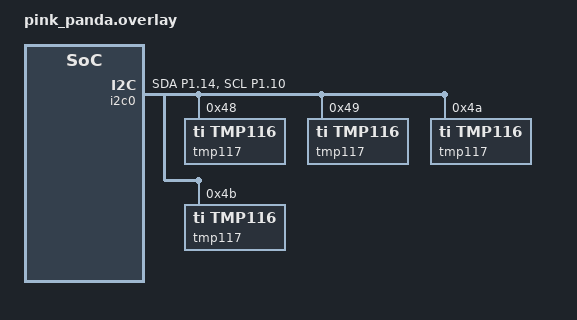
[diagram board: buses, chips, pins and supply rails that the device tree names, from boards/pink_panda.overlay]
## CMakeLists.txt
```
# set(OVERLAY_CONFIG "secret.conf")

cmake_minimum_required(VERSION 3.20.0)
list(APPEND BOARD_ROOT ${CMAKE_CURRENT_SOURCE_DIR})
find_package(Zephyr REQUIRED HINTS $ENV{ZEPHYR_BASE})

execute_process(COMMAND git describe
                WORKING_DIRECTORY ${CMAKE_CURRENT_SOURCE_DIR}
                OUTPUT_VARIABLE GIT_DESCRIBE
                ERROR_QUIET)
string(STRIP "${GIT_DESCRIBE}" GIT_DESCRIBE)
STRING(REGEX MATCH "[0-9]+\\.[0-9]+\\.[0-9]+"
       VERSION "${GIT_DESCRIBE}")

project(app LANGUAGES C VERSION ${VERSION})


configure_file(app_version.h.in ${CMAKE_BINARY_DIR}/app/include/app_version.h)
zephyr_include_directories(
    ${CMAKE_BINARY_DIR}/app/include
)
target_include_directories(app PRIVATE ${CMAKE_BINARY_DIR}/app/include src)

target_sources(app PRIVATE
        src/main.c)
```

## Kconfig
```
mainmenu "Main Application"

config APP_SUSPEND_CONSOLE
	bool "Suspend console"
	help
	  Suspend console.

config APP_MAIN_LOOP_PERIOD_SEC
	int "Main loop period (sec)"
	default 10
	help
	  Main loop period in seconds.

source "Kconfig.zephyr"
```

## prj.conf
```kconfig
CONFIG_EEPROM_INIT_PRIORITY=91
CONFIG_SERIAL=y
CONFIG_HEAP_MEM_POOL_SIZE=2048

CONFIG_FPU=y
CONFIG_PM_DEVICE=y

CONFIG_SENSOR=y

CONFIG_MY_MODULE_BASE_RESET=y
CONFIG_MY_MODULE_BASE_WATCHDOG=y
CONFIG_MY_MODULE_BASE_WATCHDOG_TIMEOUT_SEC=30

#CONFIG_MAIN_STACK_SIZE=4096
#CONFIG_SYSTEM_WORKQUEUE_STACK_SIZE=2048
#CONFIG_LOG_BUFFER_SIZE=16384

CONFIG_THREAD_NAME=y
CONFIG_EVENTS=y
CONFIG_CONSOLE=y
CONFIG_UART_CONSOLE=y
CONFIG_EEPROM=y
CONFIG_CBPRINTF_FP_SUPPORT=y
CONFIG_THREAD_ANALYZER=y
CONFIG_LOG=y
CONFIG_LOG_SPEED=y
```

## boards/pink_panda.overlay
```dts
/ {
	/*
	* In some default configurations within the nRF Connect SDK,
	* e.g. on nRF52840, the chosen zephyr,entropy node is &cryptocell.
	* This devicetree overlay ensures that default is overridden wherever it
	* is set, as this application uses the RNG node for entropy exclusively.
	*/
	chosen {
		zephyr,entropy = &rng;
	};
};
&pinctrl {
	i2c0_default: i2c0_default {
		group1 {
			psels = <NRF_PSEL(TWIM_SDA, 1, 14)>,
				<NRF_PSEL(TWIM_SCL, 1, 10)>;
		};
	};

	i2c0_sleep: i2c0_sleep {
		group1 {
			psels = <NRF_PSEL(TWIM_SDA, 1, 14)>,
				<NRF_PSEL(TWIM_SCL, 1, 10)>;
			low-power-enable;
		};
	};
};
&adc {
	status = "disabled";
};
&uart1 {
	status = "disabled";
};
&pwm0 {
	status = "disabled";
};
&i2c0 {
	status = "okay";
	pinctrl-0 = <&i2c0_default>;
	pinctrl-1 = <&i2c0_sleep>;
	pinctrl-names = "default", "sleep";

	tmp117@48 {
		compatible = "ti,tmp116";
		reg = <0x48>;
		#address-cells = <1>;
		#size-cells = <0>;

		alert {
			compatible = "tmp117-alert";
			gpios = <&gpio0 2 (GPIO_PULL_UP | GPIO_ACTIVE_LOW)>;
		};

		tmp117_eeprom@0 {
			compatible = "ti,tmp116-eeprom";
			reg = <0x0>;
			read-only;
		};
	};
	tmp117@49 {
		compatible = "ti,tmp116";
		reg = <0x49>;
		#address-cells = <1>;
		#size-cells = <0>;

		alert {
			compatible = "tmp117-alert";
			gpios = <&gpio1 15 (GPIO_PULL_UP | GPIO_ACTIVE_LOW)>;
		};

		tmp117_eeprom@0 {
			compatible = "ti,tmp116-eeprom";
			reg = <0x0>;
			read-only;
		};
	};
	tmp117@4a {
		compatible = "ti,tmp116";
		reg = <0x4a>;
		#address-cells = <1>;
		#size-cells = <0>;

		alert {
			compatible = "tmp117-alert";
			gpios = <&gpio1 13 (GPIO_PULL_UP | GPIO_ACTIVE_LOW)>;
		};

		tmp117_eeprom@0 {
			compatible = "ti,tmp116-eeprom";
			reg = <0x0>;
			read-only;
		};
	};
	tmp117@4b {
		compatible = "ti,tmp116";
		reg = <0x4b>;
		#address-cells = <1>;
		#size-cells = <0>;

		alert {
			compatible = "tmp117-alert";
			gpios = <&gpio0 3 (GPIO_PULL_UP | GPIO_ACTIVE_LOW)>;
		};

		tmp117_eeprom@0 {
			compatible = "ti,tmp116-eeprom";
			reg = <0x0>;
			read-only;
		};
	};
};
&spi0 {
	status = "disabled";
};
&spi1 {
	status = "disabled";
};
&spi2 {
	status = "disabled";
};
&spi3 {
	status = "disabled";
};
&qspi {
	status = "disabled";
};
&usbd {
	status = "disabled";
};
&gpio0 {
	status = "okay";
};
&gpio1 {
	status = "okay";
};
&gpiote {
    status = "okay";
};
&ieee802154 {
	status = "disabled";
};
```

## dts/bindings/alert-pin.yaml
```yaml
description: GPIO pin of a TMP117 alert pin

compatible: "alert-pin"

properties:
  gpios:
    type: phandle-array
    required: true
    description: |
      The GPIO connected to the alert pin.
```

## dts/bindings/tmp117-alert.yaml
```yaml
description: GPIO pin of a TMP117 alert pin

compatible: "tmp117-alert"

properties:
  gpios:
    type: phandle-array
    required: true
    description: |
      The GPIO connected to the alert pin.
```

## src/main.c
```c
#include <zephyr/drivers/eeprom.h>
#include <zephyr/drivers/gpio.h>
#include <zephyr/drivers/i2c.h>
#include <zephyr/drivers/sensor.h>
#include <zephyr/drivers/sensor/tmp116.h>
#include <zephyr/drivers/watchdog.h>
#include <zephyr/kernel.h>
#include <zephyr/pm/device.h>
#include <zephyr/debug/thread_analyzer.h>

#include <zephyr/logging/log.h>
LOG_MODULE_REGISTER(main, LOG_LEVEL_DBG);

#include <app_version.h>
#include <reset.h>
#include <watchdog.h>


#define TMP117_48_NODE			DT_CHILD(DT_NODELABEL(i2c0), tmp117_48)
#define TMP117_49_NODE			DT_CHILD(DT_NODELABEL(i2c0), tmp117_49)
#define TMP117_4a_NODE			DT_CHILD(DT_NODELABEL(i2c0), tmp117_4a)
#define TMP117_4b_NODE			DT_CHILD(DT_NODELABEL(i2c0), tmp117_4b)

#define ALERT0_PRESS_EVENT		BIT(0)
#define ALERT1_PRESS_EVENT		BIT(1)
#define ALERT2_PRESS_EVENT		BIT(2)
#define ALERT3_PRESS_EVENT		BIT(3)
#define BUTTON_ALL_PRESS_EVENT		(ALERT0_PRESS_EVENT | \
					 ALERT1_PRESS_EVENT | \
					 ALERT2_PRESS_EVENT | \
					 ALERT3_PRESS_EVENT)


#define TMP117_CFGR_DR_ALERT		BIT(2)


struct tmp117 {
	const struct device *dev;
	const struct gpio_dt_spec alert;
	const struct device *eeprom;
	struct gpio_callback callback;
	uint32_t event;
	char serial_number[12+1];
};


static K_EVENT_DEFINE(alert_events);

static struct tmp117 tmp117s[] = {
	{
		.dev = DEVICE_DT_GET(TMP117_48_NODE),
		.alert = GPIO_DT_SPEC_GET(
			DT_CHILD(TMP117_48_NODE, alert), gpios),
		.eeprom = DEVICE_DT_GET(
			DT_CHILD(TMP117_48_NODE, tmp117_eeprom_0)),
		.event = ALERT0_PRESS_EVENT,
	},
	{
		.dev = DEVICE_DT_GET(TMP117_49_NODE),
		.alert = GPIO_DT_SPEC_GET(
			DT_CHILD(TMP117_49_NODE, alert), gpios),
		.eeprom = DEVICE_DT_GET(
			DT_CHILD(TMP117_49_NODE, tmp117_eeprom_0)),
		.event = ALERT1_PRESS_EVENT,
	},
	{
		.dev = DEVICE_DT_GET(TMP117_4a_NODE),
		.alert = GPIO_DT_SPEC_GET(
			DT_CHILD(TMP117_4a_NODE, alert), gpios),
		.eeprom = DEVICE_DT_GET(
			DT_CHILD(TMP117_4a_NODE, tmp117_eeprom_0)),
		.event = ALERT2_PRESS_EVENT,
	},
	{
		.dev = DEVICE_DT_GET(TMP117_4b_NODE),
		.alert = GPIO_DT_SPEC_GET(
			DT_CHILD(TMP117_4b_NODE, alert), gpios),
		.eeprom = DEVICE_DT_GET(
			DT_CHILD(TMP117_4b_NODE, tmp117_eeprom_0)),
		.event = ALERT3_PRESS_EVENT,
	},
};


static void alert_callback(const struct device *port,
			   struct gpio_callback *cb,
			   gpio_port_pins_t pins)
{
	struct tmp117 *sensor = CONTAINER_OF(cb, struct tmp117, callback);

	LOG_INF("🛎️  Button pressed");
	k_event_post(&alert_events, sensor->event);
}

static int general_call_reset(const struct device *i2c_dev) {
	uint8_t command = 0x06;
	uint32_t num_bytes = 0x01;
	uint16_t addr = 0x00;

	return i2c_write(i2c_dev, &command, num_bytes, addr);
}

static int get_current_temperature(struct tmp117 *sensor, double *temperature)
{
	int ret;
	struct sensor_value temp_value;

	ret = sensor_sample_fetch(sensor->dev);
	if (ret < 0) {
		LOG_ERR("Failed to fetch measurements (%d)", ret);
		return ret;
	}

	ret = sensor_channel_get(sensor->dev, SENSOR_CHAN_AMBIENT_TEMP,
				 &temp_value);
	if (ret < 0) {
		LOG_ERR("Failed to get measurements (%d)", ret);
		return ret;
	}

	*temperature = sensor_value_to_double(&temp_value);

	return 0;
}

static int set_alert_pin_as_data_ready(struct tmp117 *sensor) {
	struct sensor_value config = { 0 };
	int ret;

	ret = sensor_attr_get(sensor->dev,
			      SENSOR_CHAN_AMBIENT_TEMP,
			      SENSOR_ATTR_CONFIGURATION,
			      &config);
	if (ret < 0) {
		LOG_ERR("Could not get configuration");
		return ret;
	}

	if (config.val1 & TMP117_CFGR_DR_ALERT) {
		return 0;
	}

	config.val1 |= TMP117_CFGR_DR_ALERT;

	ret = sensor_attr_set(sensor->dev,
			      SENSOR_CHAN_AMBIENT_TEMP,
			      SENSOR_ATTR_CONFIGURATION,
			      &config);
	if (ret < 0) {
		LOG_ERR("Could not set configuration");
		return ret;
	}

	return 0;
}

static int configure_alert_pin(struct tmp117 *sensor) {
	int ret;

	ret = gpio_pin_configure_dt(&sensor->alert, GPIO_INPUT);
	if (ret < 0) {
		LOG_ERR("Could not configure gpio");
		return ret;
	}

	ret = gpio_pin_interrupt_configure_dt(&sensor->alert,
					      GPIO_INT_EDGE_FALLING);
	if (ret < 0) {
		LOG_ERR("Could not configure interrupt");
		return ret;
	}

	gpio_init_callback(&sensor->callback, alert_callback,
			   BIT(sensor->alert.pin));
	ret = gpio_add_callback_dt(&sensor->alert, &sensor->callback);
	if (ret < 0) {
		LOG_ERR("Could not add callback");
		return ret;
	}

	return 0;
}

// https://e2e.ti.com/support/sensors-group/sensors/f/sensors-forum/815716/tmp117-reading-serial-number-from-eeprom
// https://e2e.ti.com/support/sensors-group/sensors/f/sensors-forum/1000579/tmp117-tmp117-nist-byte-order-and-eeprom4-address
static int get_tmp117_serial_as_string(const struct device *eeprom,
				      char *sn_buf, size_t sn_buf_size)
{
	int ret;
	uint8_t eeprom_content[EEPROM_TMP116_SIZE];

	ret = eeprom_read(eeprom, 0, eeprom_content, sizeof(eeprom_content));
	if (ret == 0) {
		printk("eeprom content %02x%02x%02x%02x%02x%02x%02x%02x\n",
		       eeprom_content[0], eeprom_content[1],
		       eeprom_content[2], eeprom_content[3],
		       eeprom_content[4], eeprom_content[5],
		       eeprom_content[6], eeprom_content[7]);
	} else {
		printk("Failed to get eeprom content\n");
	}

	ret = snprintf(sn_buf, sn_buf_size,
		       "%02x%02x%02x%02x%02x%02x",
		       eeprom_content[0], eeprom_content[1],
		       eeprom_content[2], eeprom_content[3],
		       eeprom_content[6], eeprom_content[7]);
	if (ret < 0 && ret >= sn_buf_size) {
		LOG_ERR("Could not set sn_buf");
		return -ENOMEM;
	}

	LOG_INF("TMP117 serial number: %s", sn_buf);
	return 0;
}

static int configure_temperature_sensor(struct tmp117 *sensor) {
	int ret;

	if (!device_is_ready(sensor->dev)) {
		LOG_ERR("%s: device not ready", sensor->dev->name);
		return -ENODEV;
	}
	LOG_INF("Device %s - %p is ready",
		sensor->dev->name, sensor->dev);

	if (!device_is_ready(sensor->eeprom)) {
		LOG_ERR("%s: device not ready", sensor->eeprom->name);
		return -ENODEV;
	}

	LOG_INF("🗒️ reading serial number");
	ret = get_tmp117_serial_as_string(sensor->eeprom, sensor->serial_number,
					  ARRAY_SIZE(sensor->serial_number));
	if (ret < 0) {
		LOG_ERR("Could not read serial number");
		return ret;
	}

	ret = configure_alert_pin(sensor);
	if (ret < 0) {
		LOG_ERR("Could not configure alert pin");
		return ret;
	}

	LOG_INF("Setting ALERT pin as DATA READY");
	ret = set_alert_pin_as_data_ready(sensor);
	if (ret < 0) {
		LOG_ERR("Could not configure %s", sensor->dev->name);
		return ret;
	}

	return 0;
}

int main(void)
{
	const struct device *wdt = DEVICE_DT_GET(DT_NODELABEL(wdt0));
#if defined(CONFIG_APP_SUSPEND_CONSOLE)
	const struct device *cons = DEVICE_DT_GET(DT_CHOSEN(zephyr_console));
#endif
	const struct device *i2c0 = DEVICE_DT_GET(DT_NODELABEL(i2c0));

	int ret;
	int i;
	uint32_t reset_cause;
	int main_wdt_chan_id = -1;
	uint32_t events;
	double temperatures[ARRAY_SIZE(tmp117s)];

	ret = watchdog_new_channel(wdt, &main_wdt_chan_id);
	if (ret < 0) {
		LOG_ERR("Could allocate main watchdog channel");
		return ret;
	}

	ret = watchdog_start(wdt);
	if (ret < 0) {
		LOG_ERR("Could allocate start watchdog");
		return ret;
	}

	LOG_INF("\n\n🚀 MAIN START (%s) 🚀\n", APP_VERSION_FULL);

	reset_cause = show_reset_cause();
	clear_reset_cause();

	for (i = 0; i < ARRAY_SIZE(tmp117s); i++) {
		LOG_INF("🦄 configuring tmp117 #%d", i);
		ret = configure_temperature_sensor(&tmp117s[i]);
		if (ret < 0) {
			LOG_ERR("Could not configure tmp117");
			return ret;
		}
	}

	LOG_INF("🎬 reset all tmp117s");
	ret = general_call_reset(i2c0);
	if (ret < 0) {
		LOG_ERR("Could not send a general call reset");
		return ret;
	}

	LOG_INF("🆗 initialized");

#if defined(CONFIG_APP_SUSPEND_CONSOLE)
	ret = pm_device_action_run(cons, PM_DEVICE_ACTION_SUSPEND);
	if (ret < 0) {
		LOG_ERR("Could not suspend the console");
		return ret;
	}
#endif

	thread_analyzer_print();

	LOG_INF("┌──────────────────────────────────────────────────────────┐");
	LOG_INF("│ Entering main loop                                       │");
	LOG_INF("└──────────────────────────────────────────────────────────┘");

	while (1) {
		LOG_INF("💤 waiting for events");
		events = k_event_wait_all(&alert_events,
				(BUTTON_ALL_PRESS_EVENT),
				true,
				K_SECONDS(CONFIG_APP_MAIN_LOOP_PERIOD_SEC));

		LOG_INF("⏰ events: %08x", events);

		if (events == BUTTON_ALL_PRESS_EVENT) {
			LOG_INF("handling button press event");
			for (i = 0; i < ARRAY_SIZE(tmp117s); i++) {
				ret = get_current_temperature(&tmp117s[i],
							      &temperatures[i]);
				if (ret < 0) {
					LOG_ERR("Could not get temperature");
					return ret;
				}

				LOG_INF("🌡️  current temp: %g°C", temperatures[i]);
			}
		}

		LOG_INF("🦴 feed watchdog");
		wdt_feed(wdt, main_wdt_chan_id);
	}

	return 0;
}
```
